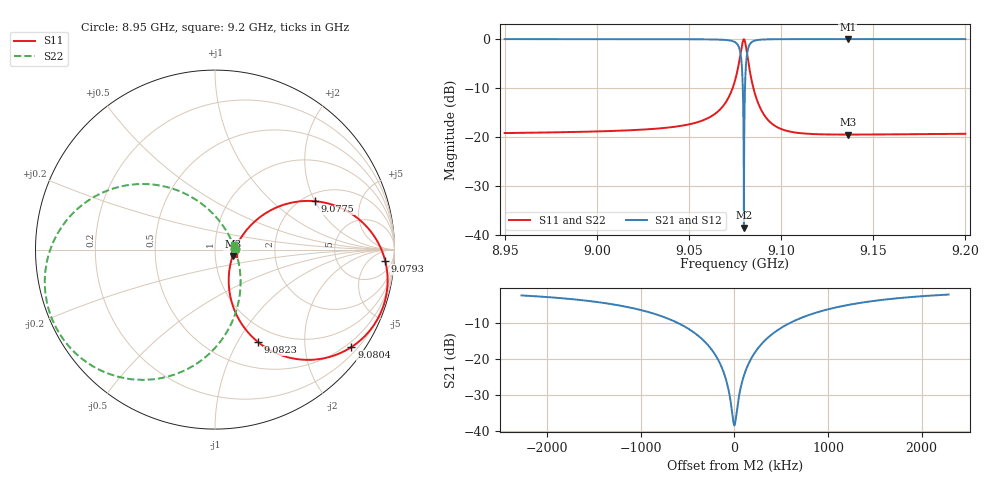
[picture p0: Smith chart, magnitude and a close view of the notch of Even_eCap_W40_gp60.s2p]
! Sonnet Data File
! From: emgraph Version : 16.52
! From Project: Resonator2_extremeCap
! Data is De-embedded
! Data File Written: 10/11/2017 17:55:29
!< HDATE 10/10/2017 20:37:37
!< MDATE 10/10/2017 20:37:37
!< PARAMS
!< Pwid1 = 2000.0
!< Pwid2 = 2000.0
!< Air_gap = 24.0
!< Width = 40.0
!< Gap = 60.0
!< END PARAMS
# GHZ S MA R 50.70000
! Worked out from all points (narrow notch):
!   1845 points, 8.95 GHz to 9.2 GHz, reference 50.7 ohm
!   highest |S21| = -0.05 dB at 9.1362 GHz (marker M1); lowest = -38.6 dB at 9.0798 GHz (marker M2)
!   notch at M2: 38.5 dB deep, 384 kHz wide at half that depth
!   lowest |S11| = -19.6 dB at 9.1362 GHz (marker M3), VSWR 1.24, Z = 61.6 - j4.64 ohm
!   |S11| at or under -10 dB: start of sweep to 9.0738 GHz; 9.0849 GHz to end of sweep
!   |S22| runs from -19.6 to -0.1 dB; largest |S21 - S12| = 0
!   S11 on the Smith chart (normalised r, x): 8.95 GHz: 1.24, +0.01; 9.0775 GHz: 2.28, +1.99; 9.0793 GHz: 15, -19; 9.0804 GHz: 0.36, -3.08; 9.0823 GHz: 0.80, -1.23; 9.2 GHz: 1.23, -0.06
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8.95  0.109 2.2  0.994 -88.1  0.994 -88.1  0.109 1.6
!< P1 F=8.95 Eeff=(6.44311072 -2.9701e-5) Z0=(50.4816225 1.16464e-4) R=0.0 C=0.0
!< P2 F=8.95 Eeff=(6.44311072 -2.9701e-5) Z0=(50.4816225 1.16464e-4) R=0.0 C=0.0
8.9918  0.1123 4.3  0.9937 -88.9  0.9937 -88.9  0.1123 -2.2
9.0334  0.1214 10.5  0.9926 -90.4  0.9926 -90.4  0.1213 -11.2
9.0624  0.1628 25.4  0.9865 -94.2  0.9865 -94.2  0.1627 -33.9
9.075  0.3749 35.3  0.9258 -108.3  0.9258 -108.3  0.3741 -72.3
9.077497  0.6166 26.0  0.7825 -124.7  0.7825 -124.7  0.6152 -96.4
9.078597  0.8189 12.0  0.5619 -141.8  0.5619 -141.8  0.8169 -117.4
9.079308  0.9501 -3.8  0.2797 -158.5  0.2797 -158.5  0.9478 -137.9
9.079664  0.9852 -13.6  0.09308 -164.6  0.09308 -164.6  0.9828 -150.1
9.07975  0.9884 -16.0  0.0463 -159.9  0.0463 -159.9  0.986 -153.1
9.07983  0.9894 -18.3  0.01178 -86.2  0.01178 -86.2  0.9869 -156.0
9.079913  0.9883 -20.7  0.04831 -14.0  0.04831 -14.0  0.9858 -158.9
9.080006  0.9845 -23.4  0.09971 -9.6  0.09971 -9.6  0.982 -162.3
9.080443  0.9342 -35.5  0.329 -18.4  0.329 -18.4  0.9318 -177.4
9.081213  0.7751 -52.2  0.6212 -36.7  0.6212 -36.7  0.7731 160.6
9.082283  0.57 -65.0  0.8172 -52.9  0.8172 -52.9  0.5685 140.1
9.0856  0.2842 -72.1  0.9578 -71.8  0.9578 -71.8  0.2834 108.9
9.0928  0.1491 -58.1  0.9886 -81.1  0.9886 -81.1  0.1488 76.0
9.1168  0.1067 -28.4  0.9943 -86.4  0.9943 -86.4  0.1066 35.7
9.1362  0.1052 -20.7  0.9944 -87.5  0.9944 -87.5  0.1052 25.7
9.1584  0.1057 -16.6  0.9944 -88.2  0.9944 -88.2  0.1057 20.2
9.2  0.1072 -13.3  0.9942 -89.1  0.9942 -89.1  0.1072 15.2
